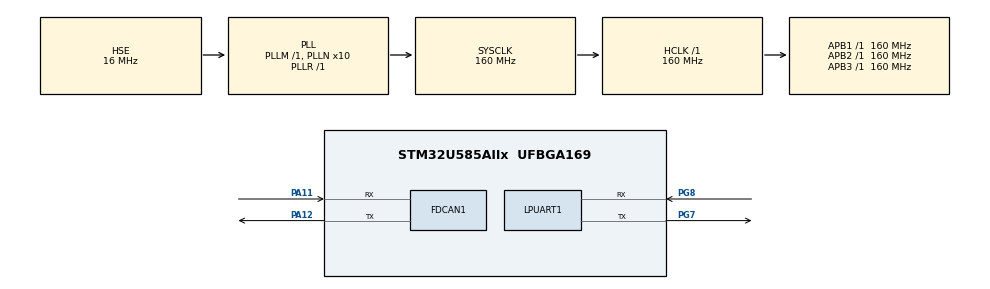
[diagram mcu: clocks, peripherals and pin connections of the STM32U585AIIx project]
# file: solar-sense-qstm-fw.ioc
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CORTEX_M33_NS.userName=CORTEX_M33
FDCAN1.CalculateBaudRateNominal=250000
FDCAN1.CalculateTimeBitNominal=4000
FDCAN1.CalculateTimeQuantumNominal=200.0
Mcu.Family=STM32U5
Mcu.Name=STM32U585AIIx
Mcu.Package=UFBGA169
NVIC.PriorityGroup=NVIC_PRIORITYGROUP_4
PA11.Mode=FDCAN_Activate
PA11.Signal=FDCAN1_RX
PA12.Mode=FDCAN_Activate
PA12.Signal=FDCAN1_TX
PA13\ (JTMS/SWDIO).Mode=Serial_Wire
PA13\ (JTMS/SWDIO).Signal=DEBUG_JTMS-SWDIO
PA14\ (JTCK/SWCLK).Mode=Serial_Wire
PA14\ (JTCK/SWCLK).Signal=DEBUG_JTCK-SWCLK
PC14-OSC32_IN\ (PC14).Mode=LSE-External-Oscillator
PC14-OSC32_IN\ (PC14).Signal=RCC_OSC32_IN
PC15-OSC32_OUT\ (PC15).Mode=LSE-External-Oscillator
PC15-OSC32_OUT\ (PC15).Signal=RCC_OSC32_OUT
PG7.Mode=Asynchronous
PG7.Signal=LPUART1_TX
PG8.Mode=Asynchronous
PG8.Signal=LPUART1_RX
PH0-OSC_IN\ (PH0).Mode=HSE-External-Oscillator
PH0-OSC_IN\ (PH0).Signal=RCC_OSC_IN
PH1-OSC_OUT\ (PH1).Mode=HSE-External-Oscillator
PH1-OSC_OUT\ (PH1).Signal=RCC_OSC_OUT
ProjectManager.HeapSize=0x200
ProjectManager.StackSize=0x400
ProjectManager.TargetToolchain=Makefile
RCC.ADCFreq_Value=16000000
RCC.AHBFreq_Value=160000000
RCC.APB1Freq_Value=160000000
RCC.APB1TimFreq_Value=160000000
RCC.APB2Freq_Value=160000000
RCC.APB2TimFreq_Value=160000000
RCC.APB3Freq_Value=160000000
RCC.CortexFreq_Value=160000000
RCC.EPOD_VALUE=16000000
RCC.HCLKFreq_Value=160000000
RCC.HSE_VALUE=16000000
RCC.HSI48_VALUE=48000000
RCC.HSI_VALUE=16000000
RCC.LSIDIV_VALUE=32000
RCC.MSI_VALUE=4000000
RCC.PLL1R=1
RCC.PLLFRACN=0
RCC.PLLN=10
RCC.PLLSourceVirtual=RCC_PLLSOURCE_HSE
RCC.SYSCLKFreq_VALUE=160000000
RCC.SYSCLKSource=RCC_SYSCLKSOURCE_PLLCLK
RCC.USBFreq_Value=48000000
RCC.VCOOutputFreq_Value=160000000
VP_ICACHE_VS_ICACHE.Mode=DefaultMode
VP_LPBAMQUEUE_VS_QUEUE.Mode=QUEUEMODE
VP_LPBAM_VS_SIG1.Mode=SmartRun
VP_LPBAM_VS_SIG4.Mode=LPDMA1
VP_MEMORYMAP_VS_MEMORYMAP.Mode=CurAppReg
VP_PWR_VS_SECSignals.Mode=Security/Privilege
board=custom

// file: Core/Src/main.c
/* USER CODE BEGIN Header */
/**
  ******************************************************************************
  * @file           : main.c
  * @brief          : Main program body
  ******************************************************************************
  * @attention
  *
  * Copyright (c) 2026 STMicroelectronics.
  * All rights reserved.
  *
  * This software is licensed under terms that can be found in the LICENSE file
  * in the root directory of this software component.
  * If no LICENSE file comes with this software, it is provided AS-IS.
  *
  ******************************************************************************
  */
/* USER CODE END Header */
#include "main.h"

/* USER CODE BEGIN Includes */
#include <stdio.h>
#include "can_protocol.h"
#include "can_unpack.h"
/* USER CODE END Includes */

FDCAN_HandleTypeDef hfdcan1;

UART_HandleTypeDef hlpuart1;

void SystemClock_Config(void);
static void MX_GPIO_Init(void);
static void MX_FDCAN1_Init(void);
static void MX_LPUART1_UART_Init(void);
static void MX_ICACHE_Init(void);

int main(void)
{
  HAL_Init();
  SystemClock_Config();
  MX_GPIO_Init();
  MX_FDCAN1_Init();
  MX_LPUART1_UART_Init();
  MX_ICACHE_Init();

  /* USER CODE BEGIN 2 */
  setvbuf(stdout, NULL, _IONBF, 0);
  printf("SolarSense CAN receiver — QSTM U585\r\n");

  FDCAN_FilterTypeDef sFilterConfig;
  sFilterConfig.IdType       = FDCAN_STANDARD_ID;
  sFilterConfig.FilterIndex  = 0;
  sFilterConfig.FilterType   = FDCAN_FILTER_MASK;
  sFilterConfig.FilterConfig = FDCAN_FILTER_TO_RXFIFO0;
  sFilterConfig.FilterID1    = 0x000;  /* accept all standard IDs */
  sFilterConfig.FilterID2    = 0x000;
  HAL_FDCAN_ConfigFilter(&hfdcan1, &sFilterConfig);
  HAL_FDCAN_ConfigGlobalFilter(&hfdcan1,
      FDCAN_REJECT, FDCAN_REJECT,
      FDCAN_FILTER_REMOTE, FDCAN_FILTER_REMOTE);
  HAL_FDCAN_Start(&hfdcan1);
  printf("CAN init OK — listening at 500kbps\r\n");
  /* USER CODE END 2 */

  while (1)
  {
    /* USER CODE BEGIN WHILE */
    /* PH10 (red): 1 Hz heartbeat blink, independent of CAN traffic */
    static uint32_t last_blink = 0;
    static uint32_t last_rx    = 0;
    uint32_t now = HAL_GetTick();
    if (now - last_blink >= 500) {
      HAL_GPIO_TogglePin(GPIOH, GPIO_PIN_10);
      last_blink = now;
    }
    /* PH14 (green): solid ON while frames are arriving, OFF when the bus goes quiet */
    HAL_GPIO_WritePin(GPIOH, GPIO_PIN_14,
                      (last_rx != 0 && now - last_rx < 200) ? GPIO_PIN_SET : GPIO_PIN_RESET);

    if (HAL_FDCAN_GetRxFifoFillLevel(&hfdcan1, FDCAN_RX_FIFO0) > 0) {
      FDCAN_RxHeaderTypeDef rxHeader;
      uint8_t rxData[8];
      HAL_FDCAN_GetRxMessage(&hfdcan1, FDCAN_RX_FIFO0, &rxHeader, rxData);
      last_rx = now;  /* PH14 (green): mark RX activity (drives the LED above) */

      uint32_t id   = rxHeader.Identifier;
      uint32_t tick = HAL_GetTick();

      switch (id) {
      case SS_ID_PANEL1: {
        SS_Panel_t p; can_unpack_panel(rxData, &p);
        printf("[%06lu] RX 0x101 P1_REF  V=%umV  I=%ldµA  P=%ldµW\r\n",
               (unsigned long)tick, (unsigned)p.v_mv, (long)p.i_ua, (long)p.p_uw);
        break;
      }
      case SS_ID_PANEL2: {
        SS_Panel_t p; can_unpack_panel(rxData, &p);
        printf("[%06lu] RX 0x102 P2_SOIL V=%umV  I=%ldµA  P=%ldµW\r\n",
               (unsigned long)tick, (unsigned)p.v_mv, (long)p.i_ua, (long)p.p_uw);
        break;
      }
      case SS_ID_PANEL3: {
        SS_Panel_t p; can_unpack_panel(rxData, &p);
        printf("[%06lu] RX 0x103 P3_SOIL V=%umV  I=%ldµA  P=%ldµW\r\n",
               (unsigned long)tick, (unsigned)p.v_mv, (long)p.i_ua, (long)p.p_uw);
        break;
      }
      case SS_ID_UV: {
        SS_UV_t u; can_unpack_uv(rxData, &u);
        printf("[%06lu] RX 0x104 UV      counts=%u\r\n",
               (unsigned long)tick, (unsigned)u.uv_counts);
        break;
      }
      case SS_ID_THERMO: {
        SS_Thermo_t t; can_unpack_thermo(rxData, &t);
        printf("[%06lu] RX 0x201 TC      surface=%.1fC  cold=%.1fC\r\n",
               (unsigned long)tick,
               t.surface_c10 / 10.0f, t.cold_c10 / 10.0f);
        break;
      }
      case SS_ID_BATTERY: {
        SS_Battery_t b; can_unpack_battery(rxData, &b);
        printf("[%06lu] RX 0x202 BAT     %umV  %u%%\r\n",
               (unsigned long)tick, (unsigned)b.bat_mv, (unsigned)b.soc);
        break;
      }
      case SS_ID_SEN66_PM: {
        SS_SEN66_PM_t pm; can_unpack_sen66_pm(rxData, &pm);
        printf("[%06lu] RX 0x301 PM      1.0=%.1f  2.5=%.1f  4=%.1f  10=%.1f ug/m3\r\n",
               (unsigned long)tick,
               pm.pm1_x10 / 10.0f, pm.pm25_x10 / 10.0f,
               pm.pm4_x10 / 10.0f, pm.pm10_x10 / 10.0f);
        break;
      }
      case SS_ID_SEN66_GAS: {
        SS_SEN66_Gas_t g; can_unpack_sen66_gas(rxData, &g);
        printf("[%06lu] RX 0x302 GAS     CO2=%uppm  VOC=%u  NOx=%u\r\n",
               (unsigned long)tick,
               (unsigned)g.co2_ppm, (unsigned)g.voc, (unsigned)g.nox);
        break;
      }
      case SS_ID_BME280: {
        SS_BME280_t b; can_unpack_bme280(rxData, &b);
        printf("[%06lu] RX 0x303 BME     P=%luPa  T=%.2fC\r\n",
               (unsigned long)tick,
               (unsigned long)b.press_pa, b.temp_c100 / 100.0f);
        break;
      }
      case SS_ID_HX94C_RAIN: {
        SS_HX94C_Rain_t h; can_unpack_hx94c_rain(rxData, &h);
        printf("[%06lu] RX 0x304 ENV     RH=%.2f%%  T=%.2fC  rain=%s\r\n",
               (unsigned long)tick,
               h.rh_pct100 / 100.0f, h.temp_c100 / 100.0f,
               h.rain ? "WET" : "DRY");
        break;
      }
      case SS_ID_HEARTBEAT: {
        SS_Heartbeat_t hb; can_unpack_heartbeat(rxData, &hb);
        printf("[%06lu] HB  seq=%lu  flags=0x%02X\r\n",
               (unsigned long)tick, (unsigned long)hb.seq, (unsigned)hb.flags);
        break;
      }
      default:
        printf("[%06lu] RX 0x%03lX  ? [%02X %02X %02X %02X %02X %02X %02X %02X]\r\n",
               (unsigned long)tick, (unsigned long)id,
               rxData[0], rxData[1], rxData[2], rxData[3],
               rxData[4], rxData[5], rxData[6], rxData[7]);
        break;
      }
    }
    /* USER CODE END WHILE */
  }
}

void SystemClock_Config(void)
{
  RCC_OscInitTypeDef RCC_OscInitStruct = {0};
  RCC_ClkInitTypeDef RCC_ClkInitStruct = {0};

  /** Configure the main internal regulator output voltage
  */
  if (HAL_PWREx_ControlVoltageScaling(PWR_REGULATOR_VOLTAGE_SCALE1) != HAL_OK)
  {
    Error_Handler();
  }

  /** Initializes the CPU, AHB and APB buses clocks
  */
  RCC_OscInitStruct.OscillatorType = RCC_OSCILLATORTYPE_HSE;
  RCC_OscInitStruct.HSEState = RCC_HSE_ON;
  RCC_OscInitStruct.PLL.PLLState = RCC_PLL_ON;
  RCC_OscInitStruct.PLL.PLLSource = RCC_PLLSOURCE_HSE;
  RCC_OscInitStruct.PLL.PLLMBOOST = RCC_PLLMBOOST_DIV1;
  RCC_OscInitStruct.PLL.PLLM = 1;
  RCC_OscInitStruct.PLL.PLLN = 10;
  RCC_OscInitStruct.PLL.PLLP = 2;
  RCC_OscInitStruct.PLL.PLLQ = 2;
  RCC_OscInitStruct.PLL.PLLR = 1;
  RCC_OscInitStruct.PLL.PLLRGE = RCC_PLLVCIRANGE_1;
  RCC_OscInitStruct.PLL.PLLFRACN = 0;
  if (HAL_RCC_OscConfig(&RCC_OscInitStruct) != HAL_OK)
  {
    Error_Handler();
  }

  /** Initializes the CPU, AHB and APB buses clocks
  */
  RCC_ClkInitStruct.ClockType = RCC_CLOCKTYPE_HCLK|RCC_CLOCKTYPE_SYSCLK
                              |RCC_CLOCKTYPE_PCLK1|RCC_CLOCKTYPE_PCLK2
                              |RCC_CLOCKTYPE_PCLK3;
  RCC_ClkInitStruct.SYSCLKSource = RCC_SYSCLKSOURCE_PLLCLK;
  RCC_ClkInitStruct.AHBCLKDivider = RCC_SYSCLK_DIV1;
  RCC_ClkInitStruct.APB1CLKDivider = RCC_HCLK_DIV1;
  RCC_ClkInitStruct.APB2CLKDivider = RCC_HCLK_DIV1;
  RCC_ClkInitStruct.APB3CLKDivider = RCC_HCLK_DIV1;

  if (HAL_RCC_ClockConfig(&RCC_ClkInitStruct, FLASH_LATENCY_4) != HAL_OK)
  {
    Error_Handler();
  }
}

static void MX_FDCAN1_Init(void)
{

  hfdcan1.Instance = FDCAN1;
  hfdcan1.Init.ClockDivider = FDCAN_CLOCK_DIV1;
  hfdcan1.Init.FrameFormat = FDCAN_FRAME_CLASSIC;
  hfdcan1.Init.Mode = FDCAN_MODE_NORMAL;
  hfdcan1.Init.AutoRetransmission = ENABLE;
  hfdcan1.Init.TransmitPause = DISABLE;
  hfdcan1.Init.ProtocolException = DISABLE;
  hfdcan1.Init.NominalPrescaler = 8;   /* 80MHz / (8×20TQ) = 500kbps */
  hfdcan1.Init.NominalSyncJumpWidth = 4;
  hfdcan1.Init.NominalTimeSeg1 = 15;
  hfdcan1.Init.NominalTimeSeg2 = 4;
  hfdcan1.Init.DataPrescaler = 1;
  hfdcan1.Init.DataSyncJumpWidth = 1;
  hfdcan1.Init.DataTimeSeg1 = 1;
  hfdcan1.Init.DataTimeSeg2 = 1;
  hfdcan1.Init.StdFiltersNbr = 1;
  hfdcan1.Init.ExtFiltersNbr = 0;
  hfdcan1.Init.TxFifoQueueMode = FDCAN_TX_FIFO_OPERATION;
  if (HAL_FDCAN_Init(&hfdcan1) != HAL_OK)
  {
    Error_Handler();
  }

}

static void MX_ICACHE_Init(void)
{

  /** Enable instruction cache (default 2-ways set associative cache)
  */
  if (HAL_ICACHE_Enable() != HAL_OK)
  {
    Error_Handler();
  }

}

static void MX_LPUART1_UART_Init(void)
{

  hlpuart1.Instance = LPUART1;
  hlpuart1.Init.BaudRate = 209700;
  hlpuart1.Init.WordLength = UART_WORDLENGTH_8B;
  hlpuart1.Init.StopBits = UART_STOPBITS_1;
  hlpuart1.Init.Parity = UART_PARITY_NONE;
  hlpuart1.Init.Mode = UART_MODE_TX_RX;
  hlpuart1.Init.HwFlowCtl = UART_HWCONTROL_NONE;
  hlpuart1.Init.OneBitSampling = UART_ONE_BIT_SAMPLE_DISABLE;
  hlpuart1.Init.ClockPrescaler = UART_PRESCALER_DIV1;
  hlpuart1.AdvancedInit.AdvFeatureInit = UART_ADVFEATURE_NO_INIT;
  hlpuart1.FifoMode = UART_FIFOMODE_DISABLE;
  if (HAL_UART_Init(&hlpuart1) != HAL_OK)
  {
    Error_Handler();
  }
  if (HAL_UARTEx_SetTxFifoThreshold(&hlpuart1, UART_TXFIFO_THRESHOLD_1_8) != HAL_OK)
  {
    Error_Handler();
  }
  if (HAL_UARTEx_SetRxFifoThreshold(&hlpuart1, UART_RXFIFO_THRESHOLD_1_8) != HAL_OK)
  {
    Error_Handler();
  }
  if (HAL_UARTEx_DisableFifoMode(&hlpuart1) != HAL_OK)
  {
    Error_Handler();
  }

}

static void MX_GPIO_Init(void)
{

  /* GPIO Ports Clock Enable */
  __HAL_RCC_GPIOA_CLK_ENABLE();
  __HAL_RCC_GPIOC_CLK_ENABLE();
  __HAL_RCC_GPIOG_CLK_ENABLE();
  __HAL_RCC_GPIOH_CLK_ENABLE();

  /* USER CODE BEGIN MX_GPIO_Init_2 */
  GPIO_InitTypeDef GPIO_InitStruct = {0};
  /* PH10 (red) = 1 Hz heartbeat blink, PH14 (green) = RX-activity LED (both active-HIGH) */
  HAL_GPIO_WritePin(GPIOH, GPIO_PIN_10 | GPIO_PIN_14, GPIO_PIN_RESET);
  GPIO_InitStruct.Pin = GPIO_PIN_10 | GPIO_PIN_14;
  GPIO_InitStruct.Mode = GPIO_MODE_OUTPUT_PP;
  GPIO_InitStruct.Pull = GPIO_NOPULL;
  GPIO_InitStruct.Speed = GPIO_SPEED_FREQ_LOW;
  HAL_GPIO_Init(GPIOH, &GPIO_InitStruct);
  /* USER CODE END MX_GPIO_Init_2 */
}

/* USER CODE BEGIN 4 */
int __io_putchar(int ch)
{
  HAL_UART_Transmit(&hlpuart1, (uint8_t *)&ch, 1, HAL_MAX_DELAY);
  return ch;
}
/* USER CODE END 4 */

void Error_Handler(void)
{
  __disable_irq();
  while (1)
  {
  }
}
